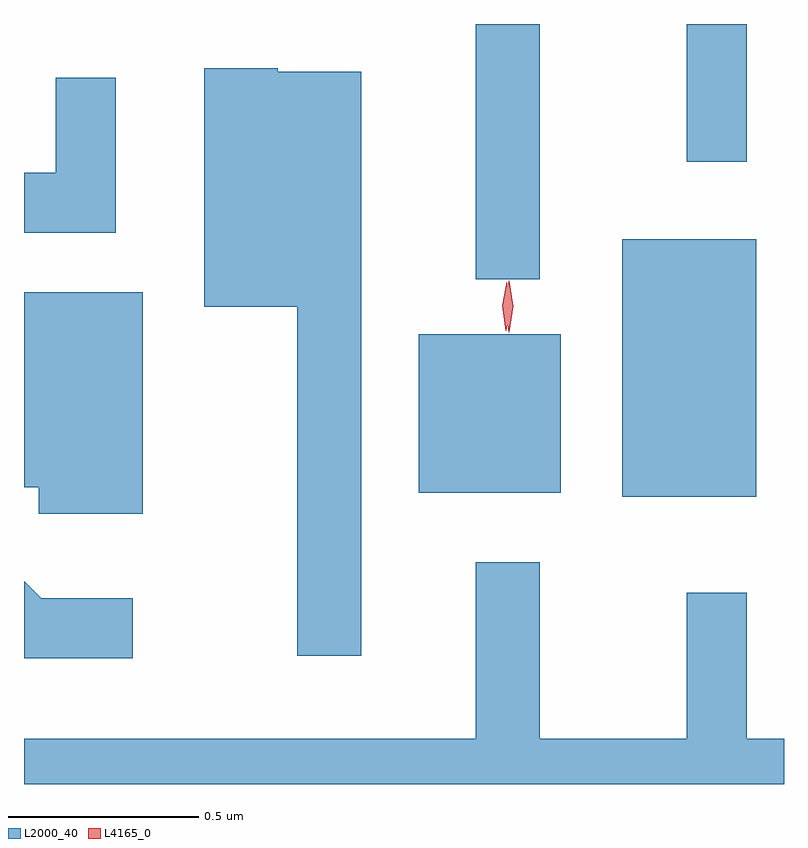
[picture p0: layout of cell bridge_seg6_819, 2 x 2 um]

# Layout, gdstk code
import gdstk
lib = gdstk.Library(unit=1e-6, precision=1e-09)
def R(c, l, rs):  # rectangles x0, y0, x1, y1
    for r in rs: c.add(gdstk.rectangle(r[:2], r[2:], *l))
def P(c, l, *ps):  # polygons
    for p in ps: c.add(gdstk.Polygon(p, *l))
L2000_40 = (2000, 40)
L4165_0 = (4165, 0)

bridge_seg6_819 = lib.new_cell('bridge_seg6_819')
R(bridge_seg6_819, L2000_40, [(492.786,1530.961,493.139,1531.639), (492.251,1530.971,492.624,1531.389), (492.401,1531.533,492.569,1532.205), (492.956,1531.843,493.114,1532.205)])
P(bridge_seg6_819, L2000_40, [(492.099,1532.079),(491.88,1532.079),(491.88,1532.089),(491.686,1532.089),(491.686,1531.461),(491.931,1531.461),(491.931,1530.543),(492.099,1530.543)],
  [(491.454,1532.063),(491.296,1532.063),(491.296,1531.814),(491.212,1531.814),(491.212,1531.656),(491.454,1531.656)],
  [(491.524,1531.499),(491.212,1531.499),(491.212,1530.986),(491.251,1530.986),(491.251,1530.916),(491.524,1530.916)],
  [(493.212,1530.324),(493.114,1530.324),(493.114,1530.708),(492.956,1530.708),(492.956,1530.324),(492.569,1530.324),(492.569,1530.788),(492.401,1530.788),(492.401,1530.324),(491.212,1530.324),(491.212,1530.205),(493.212,1530.205)],
  [(491.498,1530.694),(491.257,1530.694),(491.212,1530.739),(491.212,1530.536),(491.498,1530.536)])
P(bridge_seg6_819, L4165_0, [(492.488,1531.394),(492.479,1531.462),(492.488,1531.53),(492.489,1531.53),(492.489,1531.53),(492.499,1531.462),(492.489,1531.394),(492.489,1531.394)],
  [(492.48,1531.398),(492.48,1531.398),(492.471,1531.463),(492.482,1531.527),(492.482,1531.527),(492.483,1531.527),(492.492,1531.462),(492.481,1531.398)])

lib.write_gds('bridge_seg6_819.gds')
